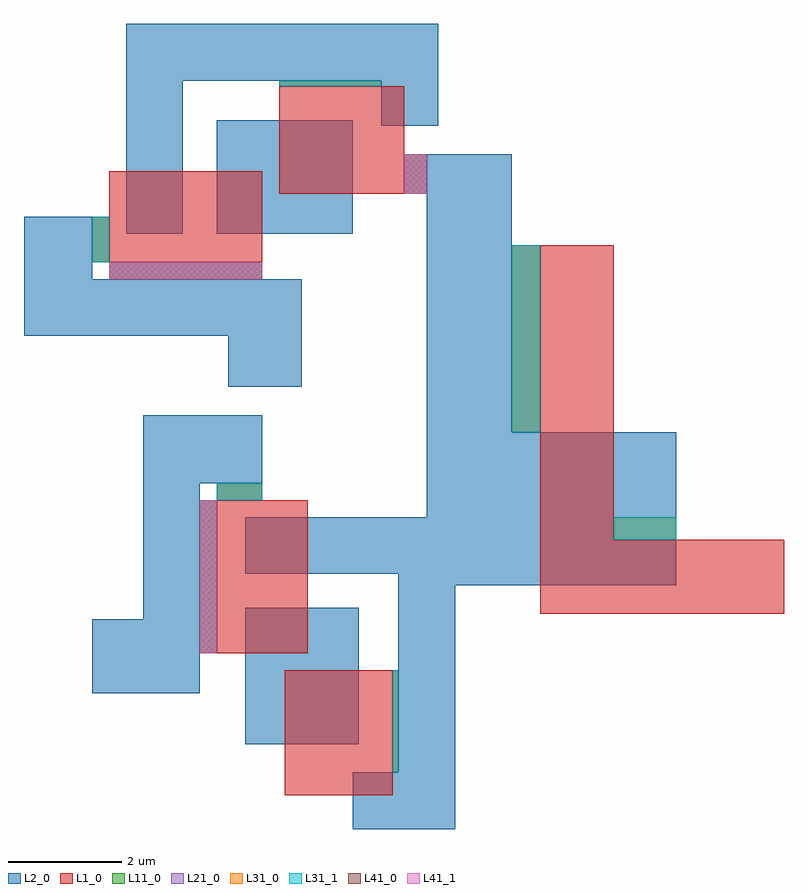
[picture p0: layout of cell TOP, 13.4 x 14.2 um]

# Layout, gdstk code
import gdstk
lib = gdstk.Library(unit=1e-6, precision=1e-09)
def R(c, l, rs):  # rectangles x0, y0, x1, y1
    for r in rs: c.add(gdstk.rectangle(r[:2], r[2:], *l))
def P(c, l, *ps):  # polygons
    for p in ps: c.add(gdstk.Polygon(p, *l))
L1_0 = (1, 0)
L2_0 = (2, 0)
L10_0 = (10, 0)
L11_0 = (11, 0)
L12_0 = (12, 0)
L20_0 = (20, 0)
L21_0 = (21, 0)
L22_0 = (22, 0)
L30_0 = (30, 0)
L30_1 = (30, 1)
L31_0 = (31, 0)
L31_1 = (31, 1)
L32_0 = (32, 0)
L32_1 = (32, 1)
L40_0 = (40, 0)
L40_1 = (40, 1)
L41_0 = (41, 0)
L41_1 = (41, 1)
L42_0 = (42, 0)
L42_1 = (42, 1)

top = lib.new_cell('TOP')
R(top, L1_0, [(3.9,0.9,5.8,3.1), (2.7,3.4,4.3,6.1), (0.8,10.3,3.5,11.9), (3.8,11.5,6,13.4)])
P(top, L1_0, [(8.4,4.1),(8.4,10.6),(9.7,10.6),(9.7,5.4),(12.7,5.4),(12.7,4.1)])
R(top, L2_0, [(3.2,1.8,5.2,4.2), (6.6,4.6,10.8,5.8), (1.4,6.4,3.5,7.6), (-0.7,9,0.5,11.1), (2.7,10.8,5.1,12.8)])
P(top, L2_0, [(6.4,5.8),(6.4,12.2),(7.9,12.2),(7.9,7.3),(10.8,7.3),(10.8,5.8)],
  [(0.5,2.7),(0.5,4),(1.4,4),(1.4,6.4),(2.4,6.4),(2.4,2.7)],
  [(2.9,8.1),(2.9,9),(0.5,9),(0.5,10),(4.2,10),(4.2,8.1)])
R(top, L11_0, [(5.8,1.3,5.9,3.1), (2.4,3.4,2.7,6.1), (2.7,6.1,3.5,6.4), (7.9,7.3,8.4,10.6), (0.8,10,3.5,10.3), (0.5,10.3,0.8,11.1), (6,11.5,6.4,12.2), (3.8,13.4,5.6,13.5)])
R(top, L21_0, [(5.8,1.3,5.9,3.1), (2.4,3.4,2.7,6.1), (2.7,6.1,3.5,6.4), (7.9,7.3,8.4,10.6), (0.8,10,3.5,10.3), (0.5,10.3,0.8,11.1), (6,11.5,6.4,12.2), (3.8,13.4,5.6,13.5)])
R(top, L31_0, [(5.8,1.3,5.9,3.1), (9.7,5.4,10.8,5.8), (2.7,6.1,3.5,6.4), (7.9,7.3,8.4,10.6), (0.5,10.3,0.8,11.1), (3.8,13.4,5.6,13.5)])
R(top, L31_1, [(5.8,1.3,5.9,3.1), (9.7,5.4,10.8,5.8), (2.7,6.1,3.5,6.4), (7.9,7.3,8.4,10.6), (0.5,10.3,0.8,11.1), (3.8,13.4,5.6,13.5)])
R(top, L41_0, [(2.4,3.4,2.7,6.1), (0.8,10,3.5,10.3), (6,11.5,6.4,12.2)])
R(top, L41_1, [(2.4,3.4,2.7,6.1), (0.8,10,3.5,10.3), (6,11.5,6.4,12.2)])
top.add(gdstk.FlexPath([(3.2,5.3),(6.4,5.3),(6.4,0.8),(5.1,0.8)], 1, ends="flush", simple_path=True, layer=2, datatype=0))  # L2_0
top.add(gdstk.FlexPath([(1.6,10.8),(1.6,14),(6.1,14),(6.1,12.7)], 1, ends="flush", simple_path=True, layer=2, datatype=0))  # L2_0
top.add(gdstk.FlexPath([(2.7,6.1),(3.5,6.1)], 0, ends="flush", simple_path=True, layer=10, datatype=0))  # L10_0
top.add(gdstk.FlexPath([(3.5,6.4),(2.7,6.4)], 0, ends="flush", simple_path=True, layer=10, datatype=0))  # L10_0
top.add(gdstk.FlexPath([(3.5,10.3),(0.8,10.3)], 0, ends="flush", simple_path=True, layer=10, datatype=0))  # L10_0
top.add(gdstk.FlexPath([(0.8,10),(3.5,10)], 0, ends="flush", simple_path=True, layer=10, datatype=0))  # L10_0
top.add(gdstk.FlexPath([(2.7,3.4),(2.7,6.1)], 0, ends="flush", simple_path=True, layer=10, datatype=0))  # L10_0
top.add(gdstk.FlexPath([(2.4,6.1),(2.4,3.4)], 0, ends="flush", simple_path=True, layer=10, datatype=0))  # L10_0
top.add(gdstk.FlexPath([(0.8,10.3),(0.8,11.1)], 0, ends="flush", simple_path=True, layer=10, datatype=0))  # L10_0
top.add(gdstk.FlexPath([(0.5,11.1),(0.5,10.3)], 0, ends="flush", simple_path=True, layer=10, datatype=0))  # L10_0
top.add(gdstk.FlexPath([(5.8,3.1),(5.8,1.3)], 0, ends="flush", simple_path=True, layer=10, datatype=0))  # L10_0
top.add(gdstk.FlexPath([(5.9,1.3),(5.9,3.1)], 0, ends="flush", simple_path=True, layer=10, datatype=0))  # L10_0
top.add(gdstk.FlexPath([(6,12.2),(6,11.5)], 0, ends="flush", simple_path=True, layer=10, datatype=0))  # L10_0
top.add(gdstk.FlexPath([(6.4,11.5),(6.4,12.2)], 0, ends="flush", simple_path=True, layer=10, datatype=0))  # L10_0
top.add(gdstk.FlexPath([(3.8,13.4),(5.6,13.4)], 0, ends="flush", simple_path=True, layer=10, datatype=0))  # L10_0
top.add(gdstk.FlexPath([(5.6,13.5),(3.8,13.5)], 0, ends="flush", simple_path=True, layer=10, datatype=0))  # L10_0
top.add(gdstk.FlexPath([(8.4,7.3),(8.4,10.6)], 0, ends="flush", simple_path=True, layer=10, datatype=0))  # L10_0
top.add(gdstk.FlexPath([(7.9,10.6),(7.9,7.3)], 0, ends="flush", simple_path=True, layer=10, datatype=0))  # L10_0
top.add(gdstk.FlexPath([(2.7,6.1),(3.5,6.1)], 0, ends="flush", simple_path=True, layer=12, datatype=0))  # L12_0
top.add(gdstk.FlexPath([(3.5,6.4),(2.7,6.4)], 0, ends="flush", simple_path=True, layer=12, datatype=0))  # L12_0
top.add(gdstk.FlexPath([(2.7,3.4),(2.7,6.1)], 0, ends="flush", simple_path=True, layer=12, datatype=0))  # L12_0
top.add(gdstk.FlexPath([(5.9,1.3),(5.9,3.1)], 0, ends="flush", simple_path=True, layer=12, datatype=0))  # L12_0
top.add(gdstk.FlexPath([(0.8,10),(3.5,10)], 0, ends="flush", simple_path=True, layer=12, datatype=0))  # L12_0
top.add(gdstk.FlexPath([(7.9,10.6),(7.9,7.3)], 0, ends="flush", simple_path=True, layer=12, datatype=0))  # L12_0
top.add(gdstk.FlexPath([(8.4,7.3),(8.4,10.6)], 0, ends="flush", simple_path=True, layer=12, datatype=0))  # L12_0
top.add(gdstk.FlexPath([(5.6,13.5),(3.8,13.5)], 0, ends="flush", simple_path=True, layer=12, datatype=0))  # L12_0
top.add(gdstk.FlexPath([(0.5,11.1),(0.5,10.3)], 0, ends="flush", simple_path=True, layer=12, datatype=0))  # L12_0
top.add(gdstk.FlexPath([(6.4,11.5),(6.4,12.2)], 0, ends="flush", simple_path=True, layer=12, datatype=0))  # L12_0
top.add(gdstk.FlexPath([(2.4,6.1),(2.4,3.4)], 0, ends="flush", simple_path=True, layer=12, datatype=0))  # L12_0
top.add(gdstk.FlexPath([(5.8,3.1),(5.8,1.3)], 0, ends="flush", simple_path=True, layer=12, datatype=0))  # L12_0
top.add(gdstk.FlexPath([(6,12.2),(6,11.5)], 0, ends="flush", simple_path=True, layer=12, datatype=0))  # L12_0
top.add(gdstk.FlexPath([(0.8,10.3),(0.8,11.1)], 0, ends="flush", simple_path=True, layer=12, datatype=0))  # L12_0
top.add(gdstk.FlexPath([(3.8,13.4),(5.6,13.4)], 0, ends="flush", simple_path=True, layer=12, datatype=0))  # L12_0
top.add(gdstk.FlexPath([(3.5,10.3),(0.8,10.3)], 0, ends="flush", simple_path=True, layer=12, datatype=0))  # L12_0
top.add(gdstk.FlexPath([(2.7,6.1),(3.5,6.1)], 0, ends="flush", simple_path=True, layer=20, datatype=0))  # L20_0
top.add(gdstk.FlexPath([(3.5,6.4),(2.7,6.4)], 0, ends="flush", simple_path=True, layer=20, datatype=0))  # L20_0
top.add(gdstk.FlexPath([(5.8,3.1),(5.8,1.3)], 0, ends="flush", simple_path=True, layer=20, datatype=0))  # L20_0
top.add(gdstk.FlexPath([(5.9,1.3),(5.9,3.1)], 0, ends="flush", simple_path=True, layer=20, datatype=0))  # L20_0
top.add(gdstk.FlexPath([(3.5,10.3),(0.8,10.3)], 0, ends="flush", simple_path=True, layer=20, datatype=0))  # L20_0
top.add(gdstk.FlexPath([(0.8,10),(3.5,10)], 0, ends="flush", simple_path=True, layer=20, datatype=0))  # L20_0
top.add(gdstk.FlexPath([(3.8,13.4),(5.6,13.4)], 0, ends="flush", simple_path=True, layer=20, datatype=0))  # L20_0
top.add(gdstk.FlexPath([(5.6,13.5),(3.8,13.5)], 0, ends="flush", simple_path=True, layer=20, datatype=0))  # L20_0
top.add(gdstk.FlexPath([(2.7,3.4),(2.7,6.1)], 0, ends="flush", simple_path=True, layer=20, datatype=0))  # L20_0
top.add(gdstk.FlexPath([(2.4,6.1),(2.4,3.4)], 0, ends="flush", simple_path=True, layer=20, datatype=0))  # L20_0
top.add(gdstk.FlexPath([(0.8,10.3),(0.8,11.1)], 0, ends="flush", simple_path=True, layer=20, datatype=0))  # L20_0
top.add(gdstk.FlexPath([(0.5,11.1),(0.5,10.3)], 0, ends="flush", simple_path=True, layer=20, datatype=0))  # L20_0
top.add(gdstk.FlexPath([(6,12.2),(6,11.5)], 0, ends="flush", simple_path=True, layer=20, datatype=0))  # L20_0
top.add(gdstk.FlexPath([(6.4,11.5),(6.4,12.2)], 0, ends="flush", simple_path=True, layer=20, datatype=0))  # L20_0
top.add(gdstk.FlexPath([(8.4,7.3),(8.4,10.6)], 0, ends="flush", simple_path=True, layer=20, datatype=0))  # L20_0
top.add(gdstk.FlexPath([(7.9,10.6),(7.9,7.3)], 0, ends="flush", simple_path=True, layer=20, datatype=0))  # L20_0
top.add(gdstk.FlexPath([(2.7,3.4),(2.7,6.1)], 0, ends="flush", simple_path=True, layer=22, datatype=0))  # L22_0
top.add(gdstk.FlexPath([(3.5,6.4),(2.7,6.4)], 0, ends="flush", simple_path=True, layer=22, datatype=0))  # L22_0
top.add(gdstk.FlexPath([(8.4,7.3),(8.4,10.6)], 0, ends="flush", simple_path=True, layer=22, datatype=0))  # L22_0
top.add(gdstk.FlexPath([(7.9,10.6),(7.9,7.3)], 0, ends="flush", simple_path=True, layer=22, datatype=0))  # L22_0
top.add(gdstk.FlexPath([(6,12.2),(6,11.5)], 0, ends="flush", simple_path=True, layer=22, datatype=0))  # L22_0
top.add(gdstk.FlexPath([(3.5,10.3),(0.8,10.3)], 0, ends="flush", simple_path=True, layer=22, datatype=0))  # L22_0
top.add(gdstk.FlexPath([(6.4,11.5),(6.4,12.2)], 0, ends="flush", simple_path=True, layer=22, datatype=0))  # L22_0
top.add(gdstk.FlexPath([(3.8,13.4),(5.6,13.4)], 0, ends="flush", simple_path=True, layer=22, datatype=0))  # L22_0
top.add(gdstk.FlexPath([(2.4,6.1),(2.4,3.4)], 0, ends="flush", simple_path=True, layer=22, datatype=0))  # L22_0
top.add(gdstk.FlexPath([(5.9,1.3),(5.9,3.1)], 0, ends="flush", simple_path=True, layer=22, datatype=0))  # L22_0
top.add(gdstk.FlexPath([(0.5,11.1),(0.5,10.3)], 0, ends="flush", simple_path=True, layer=22, datatype=0))  # L22_0
top.add(gdstk.FlexPath([(5.6,13.5),(3.8,13.5)], 0, ends="flush", simple_path=True, layer=22, datatype=0))  # L22_0
top.add(gdstk.FlexPath([(0.8,10),(3.5,10)], 0, ends="flush", simple_path=True, layer=22, datatype=0))  # L22_0
top.add(gdstk.FlexPath([(5.8,3.1),(5.8,1.3)], 0, ends="flush", simple_path=True, layer=22, datatype=0))  # L22_0
top.add(gdstk.FlexPath([(0.8,10.3),(0.8,11.1)], 0, ends="flush", simple_path=True, layer=22, datatype=0))  # L22_0
top.add(gdstk.FlexPath([(2.7,6.1),(3.5,6.1)], 0, ends="flush", simple_path=True, layer=22, datatype=0))  # L22_0
top.add(gdstk.FlexPath([(2.7,6.1),(3.5,6.1)], 0, ends="flush", simple_path=True, layer=30, datatype=0))  # L30_0
top.add(gdstk.FlexPath([(3.5,6.4),(2.7,6.4)], 0, ends="flush", simple_path=True, layer=30, datatype=0))  # L30_0
top.add(gdstk.FlexPath([(0.8,10.3),(0.8,11.1)], 0, ends="flush", simple_path=True, layer=30, datatype=0))  # L30_0
top.add(gdstk.FlexPath([(0.5,11.1),(0.5,10.3)], 0, ends="flush", simple_path=True, layer=30, datatype=0))  # L30_0
top.add(gdstk.FlexPath([(5.8,3.1),(5.8,1.3)], 0, ends="flush", simple_path=True, layer=30, datatype=0))  # L30_0
top.add(gdstk.FlexPath([(5.9,1.3),(5.9,3.1)], 0, ends="flush", simple_path=True, layer=30, datatype=0))  # L30_0
top.add(gdstk.FlexPath([(3.8,13.4),(5.6,13.4)], 0, ends="flush", simple_path=True, layer=30, datatype=0))  # L30_0
top.add(gdstk.FlexPath([(5.6,13.5),(3.8,13.5)], 0, ends="flush", simple_path=True, layer=30, datatype=0))  # L30_0
top.add(gdstk.FlexPath([(8.4,7.3),(8.4,10.6)], 0, ends="flush", simple_path=True, layer=30, datatype=0))  # L30_0
top.add(gdstk.FlexPath([(7.9,10.6),(7.9,7.3)], 0, ends="flush", simple_path=True, layer=30, datatype=0))  # L30_0
top.add(gdstk.FlexPath([(9.7,5.4),(10.8,5.4)], 0, ends="flush", simple_path=True, layer=30, datatype=0))  # L30_0
top.add(gdstk.FlexPath([(10.8,5.8),(9.7,5.8)], 0, ends="flush", simple_path=True, layer=30, datatype=0))  # L30_0
top.add(gdstk.FlexPath([(3.5,6.4),(2.7,6.4)], 0, ends="flush", simple_path=True, layer=32, datatype=0))  # L32_0
top.add(gdstk.FlexPath([(2.7,6.1),(3.5,6.1)], 0, ends="flush", simple_path=True, layer=32, datatype=0))  # L32_0
top.add(gdstk.FlexPath([(0.8,10.3),(0.8,11.1)], 0, ends="flush", simple_path=True, layer=32, datatype=0))  # L32_0
top.add(gdstk.FlexPath([(5.8,3.1),(5.8,1.3)], 0, ends="flush", simple_path=True, layer=32, datatype=0))  # L32_0
top.add(gdstk.FlexPath([(5.6,13.5),(3.8,13.5)], 0, ends="flush", simple_path=True, layer=32, datatype=0))  # L32_0
top.add(gdstk.FlexPath([(8.4,7.3),(8.4,10.6)], 0, ends="flush", simple_path=True, layer=32, datatype=0))  # L32_0
top.add(gdstk.FlexPath([(7.9,10.6),(7.9,7.3)], 0, ends="flush", simple_path=True, layer=32, datatype=0))  # L32_0
top.add(gdstk.FlexPath([(10.8,5.8),(9.7,5.8)], 0, ends="flush", simple_path=True, layer=32, datatype=0))  # L32_0
top.add(gdstk.FlexPath([(0.5,11.1),(0.5,10.3)], 0, ends="flush", simple_path=True, layer=32, datatype=0))  # L32_0
top.add(gdstk.FlexPath([(5.9,1.3),(5.9,3.1)], 0, ends="flush", simple_path=True, layer=32, datatype=0))  # L32_0
top.add(gdstk.FlexPath([(3.8,13.4),(5.6,13.4)], 0, ends="flush", simple_path=True, layer=32, datatype=0))  # L32_0
top.add(gdstk.FlexPath([(9.7,5.4),(10.8,5.4)], 0, ends="flush", simple_path=True, layer=32, datatype=0))  # L32_0
top.add(gdstk.FlexPath([(2.7,6.1),(3.5,6.1)], 0, ends="flush", simple_path=True, layer=30, datatype=1))  # L30_1
top.add(gdstk.FlexPath([(3.5,6.4),(2.7,6.4)], 0, ends="flush", simple_path=True, layer=30, datatype=1))  # L30_1
top.add(gdstk.FlexPath([(0.8,10.3),(0.8,11.1)], 0, ends="flush", simple_path=True, layer=30, datatype=1))  # L30_1
top.add(gdstk.FlexPath([(0.5,11.1),(0.5,10.3)], 0, ends="flush", simple_path=True, layer=30, datatype=1))  # L30_1
top.add(gdstk.FlexPath([(5.8,3.1),(5.8,1.3)], 0, ends="flush", simple_path=True, layer=30, datatype=1))  # L30_1
top.add(gdstk.FlexPath([(5.9,1.3),(5.9,3.1)], 0, ends="flush", simple_path=True, layer=30, datatype=1))  # L30_1
top.add(gdstk.FlexPath([(3.8,13.4),(5.6,13.4)], 0, ends="flush", simple_path=True, layer=30, datatype=1))  # L30_1
top.add(gdstk.FlexPath([(5.6,13.5),(3.8,13.5)], 0, ends="flush", simple_path=True, layer=30, datatype=1))  # L30_1
top.add(gdstk.FlexPath([(8.4,7.3),(8.4,10.6)], 0, ends="flush", simple_path=True, layer=30, datatype=1))  # L30_1
top.add(gdstk.FlexPath([(7.9,10.6),(7.9,7.3)], 0, ends="flush", simple_path=True, layer=30, datatype=1))  # L30_1
top.add(gdstk.FlexPath([(9.7,5.4),(10.8,5.4)], 0, ends="flush", simple_path=True, layer=30, datatype=1))  # L30_1
top.add(gdstk.FlexPath([(10.8,5.8),(9.7,5.8)], 0, ends="flush", simple_path=True, layer=30, datatype=1))  # L30_1
top.add(gdstk.FlexPath([(2.7,6.1),(3.5,6.1)], 0, ends="flush", simple_path=True, layer=32, datatype=1))  # L32_1
top.add(gdstk.FlexPath([(0.8,10.3),(0.8,11.1)], 0, ends="flush", simple_path=True, layer=32, datatype=1))  # L32_1
top.add(gdstk.FlexPath([(5.8,3.1),(5.8,1.3)], 0, ends="flush", simple_path=True, layer=32, datatype=1))  # L32_1
top.add(gdstk.FlexPath([(0.5,11.1),(0.5,10.3)], 0, ends="flush", simple_path=True, layer=32, datatype=1))  # L32_1
top.add(gdstk.FlexPath([(5.6,13.5),(3.8,13.5)], 0, ends="flush", simple_path=True, layer=32, datatype=1))  # L32_1
top.add(gdstk.FlexPath([(5.9,1.3),(5.9,3.1)], 0, ends="flush", simple_path=True, layer=32, datatype=1))  # L32_1
top.add(gdstk.FlexPath([(7.9,10.6),(7.9,7.3)], 0, ends="flush", simple_path=True, layer=32, datatype=1))  # L32_1
top.add(gdstk.FlexPath([(3.5,6.4),(2.7,6.4)], 0, ends="flush", simple_path=True, layer=32, datatype=1))  # L32_1
top.add(gdstk.FlexPath([(8.4,7.3),(8.4,10.6)], 0, ends="flush", simple_path=True, layer=32, datatype=1))  # L32_1
top.add(gdstk.FlexPath([(10.8,5.8),(9.7,5.8)], 0, ends="flush", simple_path=True, layer=32, datatype=1))  # L32_1
top.add(gdstk.FlexPath([(3.8,13.4),(5.6,13.4)], 0, ends="flush", simple_path=True, layer=32, datatype=1))  # L32_1
top.add(gdstk.FlexPath([(9.7,5.4),(10.8,5.4)], 0, ends="flush", simple_path=True, layer=32, datatype=1))  # L32_1
top.add(gdstk.FlexPath([(3.5,10.3),(0.8,10.3)], 0, ends="flush", simple_path=True, layer=40, datatype=0))  # L40_0
top.add(gdstk.FlexPath([(0.8,10),(3.5,10)], 0, ends="flush", simple_path=True, layer=40, datatype=0))  # L40_0
top.add(gdstk.FlexPath([(2.7,3.4),(2.7,6.1)], 0, ends="flush", simple_path=True, layer=40, datatype=0))  # L40_0
top.add(gdstk.FlexPath([(2.4,6.1),(2.4,3.4)], 0, ends="flush", simple_path=True, layer=40, datatype=0))  # L40_0
top.add(gdstk.FlexPath([(6,12.2),(6,11.5)], 0, ends="flush", simple_path=True, layer=40, datatype=0))  # L40_0
top.add(gdstk.FlexPath([(6.4,11.5),(6.4,12.2)], 0, ends="flush", simple_path=True, layer=40, datatype=0))  # L40_0
top.add(gdstk.FlexPath([(2.4,6.1),(2.4,3.4)], 0, ends="flush", simple_path=True, layer=42, datatype=0))  # L42_0
top.add(gdstk.FlexPath([(2.7,3.4),(2.7,6.1)], 0, ends="flush", simple_path=True, layer=42, datatype=0))  # L42_0
top.add(gdstk.FlexPath([(0.8,10),(3.5,10)], 0, ends="flush", simple_path=True, layer=42, datatype=0))  # L42_0
top.add(gdstk.FlexPath([(6.4,11.5),(6.4,12.2)], 0, ends="flush", simple_path=True, layer=42, datatype=0))  # L42_0
top.add(gdstk.FlexPath([(3.5,10.3),(0.8,10.3)], 0, ends="flush", simple_path=True, layer=42, datatype=0))  # L42_0
top.add(gdstk.FlexPath([(6,12.2),(6,11.5)], 0, ends="flush", simple_path=True, layer=42, datatype=0))  # L42_0
top.add(gdstk.FlexPath([(2.7,3.4),(2.7,6.1)], 0, ends="flush", simple_path=True, layer=40, datatype=1))  # L40_1
top.add(gdstk.FlexPath([(2.4,6.1),(2.4,3.4)], 0, ends="flush", simple_path=True, layer=40, datatype=1))  # L40_1
top.add(gdstk.FlexPath([(3.5,10.3),(0.8,10.3)], 0, ends="flush", simple_path=True, layer=40, datatype=1))  # L40_1
top.add(gdstk.FlexPath([(0.8,10),(3.5,10)], 0, ends="flush", simple_path=True, layer=40, datatype=1))  # L40_1
top.add(gdstk.FlexPath([(6,12.2),(6,11.5)], 0, ends="flush", simple_path=True, layer=40, datatype=1))  # L40_1
top.add(gdstk.FlexPath([(6.4,11.5),(6.4,12.2)], 0, ends="flush", simple_path=True, layer=40, datatype=1))  # L40_1
top.add(gdstk.FlexPath([(0.8,10),(3.5,10)], 0, ends="flush", simple_path=True, layer=42, datatype=1))  # L42_1
top.add(gdstk.FlexPath([(3.5,10.3),(0.8,10.3)], 0, ends="flush", simple_path=True, layer=42, datatype=1))  # L42_1
top.add(gdstk.FlexPath([(2.4,6.1),(2.4,3.4)], 0, ends="flush", simple_path=True, layer=42, datatype=1))  # L42_1
top.add(gdstk.FlexPath([(2.7,3.4),(2.7,6.1)], 0, ends="flush", simple_path=True, layer=42, datatype=1))  # L42_1
top.add(gdstk.FlexPath([(6.4,11.5),(6.4,12.2)], 0, ends="flush", simple_path=True, layer=42, datatype=1))  # L42_1
top.add(gdstk.FlexPath([(6,12.2),(6,11.5)], 0, ends="flush", simple_path=True, layer=42, datatype=1))  # L42_1

lib.write_gds('TOP.gds')
